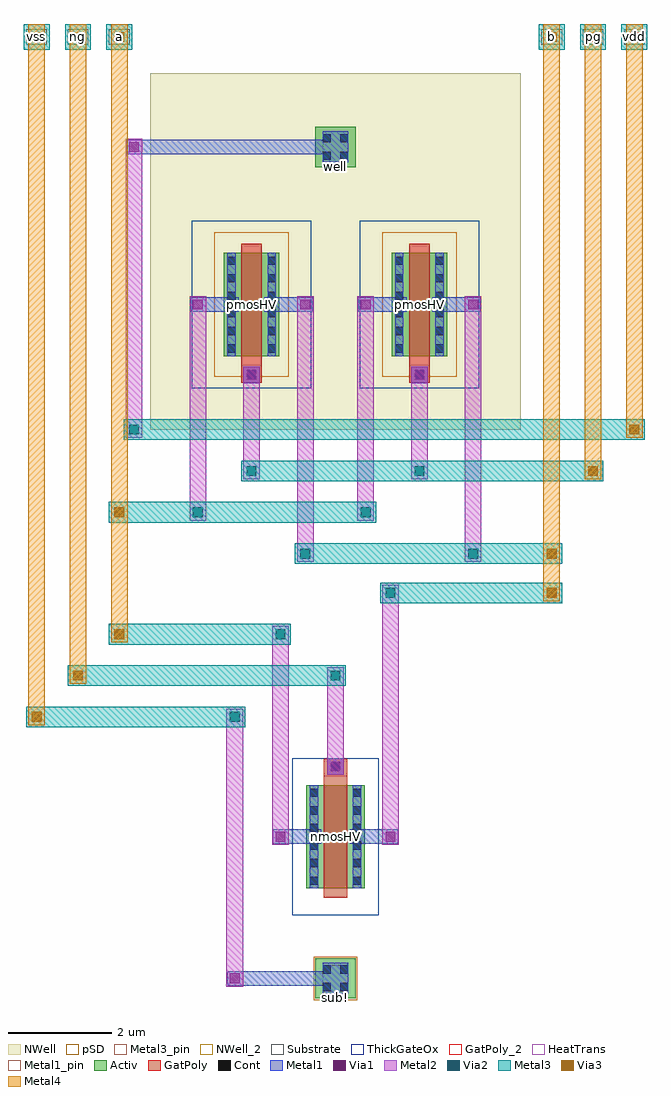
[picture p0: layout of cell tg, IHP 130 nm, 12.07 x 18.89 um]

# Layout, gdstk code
import gdstk
lib = gdstk.Library(unit=1e-6, precision=1e-09)
def R(c, l, rs):  # rectangles x0, y0, x1, y1
    for r in rs: c.add(gdstk.rectangle(r[:2], r[2:], *l))
def A(c, l, x, y, w, h, nx, ny, dx, dy):  # array of equal rectangles
    R(c, l, [(x+i*dx, y+j*dy, x+i*dx+w, y+j*dy+h) for i in range(nx) for j in range(ny)])
Activ = (1, 0)
GatPoly = (5, 0)
GatPoly_2 = (5, 2)
Cont = (6, 0)
Metal1 = (8, 0)
Metal1_pin = (8, 2)
Metal2 = (10, 0)
pSD = (14, 0)
Via1 = (19, 0)
Via2 = (29, 0)
Metal3 = (30, 0)
Metal3_pin = (30, 2)
NWell = (31, 0)
NWell_2 = (31, 2)
Substrate = (40, 0)
ThickGateOx = (44, 0)
Via3 = (49, 0)
Metal4 = (50, 0)
HeatTrans = (51, 0)

c_tg = lib.new_cell('tg')
R(c_tg, Activ, [(-0.39,-8.28,0.39,-7.5), (-0.565,-6.15,-0.265,-5.85), (-0.565,-6.15,0.565,-4.15), (0.265,-6.15,0.565,-5.85), (-2.165,4.15,-1.865,4.45), (-2.165,4.15,-1.085,6.15), (-1.385,4.15,-1.085,4.45), (1.085,4.15,1.385,4.45), (1.085,4.15,2.165,6.15), (1.865,4.15,2.165,4.45), (-0.39,7.81,0.39,8.59)])
R(c_tg, GatPoly, [(-0.225,-6.33,0.225,-3.97), (-0.225,-3.99,0.225,-3.64), (-1.825,3.64,-1.425,3.99), (1.425,3.64,1.825,3.99), (-1.825,3.97,-1.425,6.33), (1.425,3.97,1.825,6.33)])
R(c_tg, GatPoly_2, [(-0.225,-6.33,0.225,-3.97), (-1.825,3.97,-1.425,6.33), (1.425,3.97,1.825,6.33)])
A(c_tg, Cont, -0.495, -6.08, 0.16, 0.16, 1, 6, 0, 0.34)
A(c_tg, Cont, 0.335, -6.08, 0.16, 0.16, 1, 6, 0, 0.34)
A(c_tg, Cont, -2.095, 4.22, 0.16, 0.16, 1, 6, 0, 0.34)
A(c_tg, Cont, -1.315, 4.22, 0.16, 0.16, 1, 6, 0, 0.34)
A(c_tg, Cont, 1.155, 4.22, 0.16, 0.16, 1, 6, 0, 0.34)
A(c_tg, Cont, 1.935, 4.22, 0.16, 0.16, 1, 6, 0, 0.34)
R(c_tg, Cont, [(-0.25,-8.14,-0.09,-7.98), (0.09,-8.14,0.25,-7.98), (-0.25,-7.8,-0.09,-7.64), (0.09,-7.8,0.25,-7.64), (-0.08,-3.87,0.08,-3.71), (-1.705,3.71,-1.545,3.87), (1.545,3.71,1.705,3.87), (-0.25,7.95,-0.09,8.11), (0.09,7.95,0.25,8.11), (-0.25,8.29,-0.09,8.45), (0.09,8.29,0.25,8.45)])
R(c_tg, Metal1, [(-0.25,-8.19,0.25,-7.59), (-0.25,-8.14,0.25,-7.64), (-2.09,-8.03,0.14,-7.75), (-2.095,-7.995,-1.805,-7.785), (-0.495,-6.15,-0.335,-4.15), (0.335,-6.15,0.495,-4.15), (-1.205,-5.29,-0.275,-5.01), (0.275,-5.29,1.205,-5.01), (-1.21,-5.255,-0.92,-5.045), (0.92,-5.255,1.21,-5.045), (-0.16,-3.95,0.16,-3.63), (-0.145,-3.895,0.145,-3.685), (-1.785,3.63,-1.465,3.95), (1.465,3.63,1.785,3.95), (-1.77,3.685,-1.48,3.895), (1.48,3.685,1.77,3.895), (-2.095,4.15,-1.935,6.15), (-1.315,4.15,-1.155,6.15), (1.155,4.15,1.315,6.15), (1.935,4.15,2.095,6.15), (-2.805,5.01,-1.875,5.29), (-1.375,5.01,-0.445,5.29), (0.445,5.01,1.375,5.29), (1.875,5.01,2.805,5.29), (-2.81,5.045,-2.52,5.255), (-0.73,5.045,-0.44,5.255), (0.44,5.045,0.73,5.255), (2.52,5.045,2.81,5.255), (-0.25,7.9,0.25,8.5), (-4.04,8.06,0.14,8.34), (-4.045,8.095,-3.755,8.305)])
R(c_tg, Metal1_pin, [(-0.25,-8.14,0.25,-7.64), (-0.495,-6.15,-0.335,-4.15), (0.335,-6.15,0.495,-4.15), (-2.095,4.15,-1.935,6.15), (-1.315,4.15,-1.155,6.15), (1.155,4.15,1.315,6.15), (1.935,4.15,2.095,6.15), (-0.25,7.9,0.25,8.5), (-0.25,7.95,0.25,8.45)])
R(c_tg, Metal2, [(-2.11,-8.05,-1.79,-2.67), (-2.095,-7.99,-1.805,-7.79), (-1.225,-5.31,-0.905,-1.07), (0.905,-5.31,1.225,-0.27), (-1.21,-5.25,-0.92,-5.05), (0.92,-5.25,1.21,-5.05), (-0.16,-3.95,0.16,-1.87), (-0.145,-3.89,0.145,-3.69), (-2.095,-2.93,-1.805,-2.73), (-0.145,-2.13,0.145,-1.93), (-1.21,-1.33,-0.92,-1.13), (0.92,-0.53,1.21,-0.33), (-0.745,0.17,-0.425,5.31), (2.505,0.17,2.825,5.31), (-0.73,0.23,-0.44,0.43), (2.52,0.23,2.81,0.43), (-2.825,0.97,-2.505,5.31), (0.425,0.97,0.745,5.31), (-2.81,1.03,-2.52,1.23), (0.44,1.03,0.73,1.23), (-1.785,1.77,-1.465,3.95), (1.465,1.77,1.785,3.95), (-1.77,1.83,-1.48,2.03), (1.48,1.83,1.77,2.03), (-4.06,2.57,-3.74,8.36), (-4.045,2.63,-3.755,2.83), (-1.77,3.69,-1.48,3.89), (1.48,3.69,1.77,3.89), (-2.81,5.05,-2.52,5.25), (-0.73,5.05,-0.44,5.25), (0.44,5.05,0.73,5.25), (2.52,5.05,2.81,5.25), (-4.045,8.1,-3.755,8.3)])
R(c_tg, pSD, [(-0.42,-8.31,0.42,-7.47), (-2.345,3.75,-0.905,6.55), (0.905,3.75,2.345,6.55)])
R(c_tg, Via1, [(-2.045,-7.985,-1.855,-7.795), (-1.16,-5.245,-0.97,-5.055), (0.97,-5.245,1.16,-5.055), (-0.095,-3.885,0.095,-3.695), (-1.72,3.695,-1.53,3.885), (1.53,3.695,1.72,3.885), (-2.76,5.055,-2.57,5.245), (-0.68,5.055,-0.49,5.245), (0.49,5.055,0.68,5.245), (2.57,5.055,2.76,5.245), (-3.995,8.105,-3.805,8.295)])
R(c_tg, Via2, [(-2.045,-2.925,-1.855,-2.735), (-0.095,-2.125,0.095,-1.935), (-1.16,-1.325,-0.97,-1.135), (0.97,-0.525,1.16,-0.335), (-0.68,0.235,-0.49,0.425), (2.57,0.235,2.76,0.425), (-2.76,1.035,-2.57,1.225), (0.49,1.035,0.68,1.225), (-1.72,1.835,-1.53,2.025), (1.53,1.835,1.72,2.025), (-3.995,2.635,-3.805,2.825)])
A(c_tg, Metal3, -6.035, 10.08, 0.5, 0.5, 3, 1, 0.8, 0)
A(c_tg, Metal3, 3.935, 10.08, 0.5, 0.5, 3, 1, 0.8, 0)
A(c_tg, Metal3, -5.93, 10.23, 0.29, 0.2, 3, 1, 0.8, 0)
A(c_tg, Metal3, 4.04, 10.23, 0.29, 0.2, 3, 1, 0.8, 0)
R(c_tg, Metal3, [(-5.985,-3.03,-1.75,-2.63), (-5.93,-2.93,-5.64,-2.73), (-2.095,-2.93,-1.805,-2.73), (-5.185,-2.23,0.2,-1.83), (-5.13,-2.13,-4.84,-1.93), (-0.145,-2.13,0.145,-1.93), (-4.385,-1.43,-0.865,-1.03), (-4.33,-1.33,-4.04,-1.13), (-1.21,-1.33,-0.92,-1.13), (0.865,-0.63,4.385,-0.23), (0.92,-0.53,1.21,-0.33), (4.04,-0.53,4.33,-0.33), (-0.785,0.13,4.385,0.53), (-0.73,0.23,-0.44,0.43), (2.52,0.23,2.81,0.43), (4.04,0.23,4.33,0.43), (-4.385,0.93,0.785,1.33), (-4.33,1.03,-4.04,1.23), (-2.81,1.03,-2.52,1.23), (0.44,1.03,0.73,1.23), (-1.825,1.73,5.185,2.13), (-1.77,1.83,-1.48,2.03), (1.48,1.83,1.77,2.03), (4.84,1.83,5.13,2.03), (-4.1,2.53,5.985,2.93), (-4.045,2.63,-3.755,2.83), (5.64,2.63,5.93,2.83)])
A(c_tg, Metal3_pin, -5.985, 10.18, 0.4, 0.3, 3, 1, 0.8, 0)
A(c_tg, Metal3_pin, 3.985, 10.18, 0.4, 0.3, 3, 1, 0.8, 0)
R(c_tg, NWell, [(-3.585,2.73,3.585,9.63), (-2.785,3.53,-0.465,6.77), (0.465,3.53,2.785,6.77), (-0.63,7.57,0.63,8.83), (-0.39,7.81,0.39,8.59)])
R(c_tg, NWell_2, [(-0.39,7.81,0.39,8.59)])
R(c_tg, Substrate, [(-0.39,-8.28,0.39,-7.5)])
R(c_tg, ThickGateOx, [(-0.835,-6.67,0.835,-3.63), (-2.785,3.53,-0.465,6.77), (0.465,3.53,2.785,6.77)])
A(c_tg, Via3, -5.88, 10.235, 0.19, 0.19, 3, 1, 0.8, 0)
A(c_tg, Via3, 4.09, 10.235, 0.19, 0.19, 3, 1, 0.8, 0)
R(c_tg, Via3, [(-5.88,-2.925,-5.69,-2.735), (-5.08,-2.125,-4.89,-1.935), (-4.28,-1.325,-4.09,-1.135), (4.09,-0.525,4.28,-0.335), (4.09,0.235,4.28,0.425), (-4.28,1.035,-4.09,1.225), (4.89,1.835,5.08,2.025), (5.69,2.635,5.88,2.825)])
A(c_tg, Metal4, -5.93, 10.23, 0.29, 0.2, 3, 1, 0.8, 0)
A(c_tg, Metal4, 4.04, 10.23, 0.29, 0.2, 3, 1, 0.8, 0)
R(c_tg, Metal4, [(-5.945,-2.99,-5.625,10.58), (-5.93,-2.93,-5.64,-2.73), (-5.145,-2.19,-4.825,10.58), (-5.13,-2.13,-4.84,-1.93), (-4.345,-1.39,-4.025,10.58), (-4.33,-1.33,-4.04,-1.13), (4.025,-0.59,4.345,10.58), (4.04,-0.53,4.33,-0.33), (4.04,0.23,4.33,0.43), (-4.33,1.03,-4.04,1.23), (4.825,1.77,5.145,10.58), (4.84,1.83,5.13,2.03), (5.625,2.57,5.945,10.58), (5.64,2.63,5.93,2.83)])
R(c_tg, HeatTrans, [(-0.225,-6.33,0.225,-3.97), (-1.825,3.97,-1.425,6.33), (1.425,3.97,1.825,6.33)])
c_tg.add(gdstk.Label('pmosHV', (-1.625,5.15), layer=63, texttype=0))
c_tg.add(gdstk.Label('pmosHV', (1.625,5.15), layer=63, texttype=0))
c_tg.add(gdstk.Label('nmosHV', (0,-5.15), layer=63, texttype=0))
c_tg.add(gdstk.Label('well', (0,7.82), layer=63, texttype=0))
c_tg.add(gdstk.Label('sub!', (0,-8.27), layer=63, texttype=0))
c_tg.add(gdstk.Label('pmos', (-1.625,5.15), layer=51, texttype=0))
c_tg.add(gdstk.Label('pmos', (1.625,5.15), layer=51, texttype=0))
c_tg.add(gdstk.Label('nmosHV', (0,-5.15), layer=51, texttype=0))
c_tg.add(gdstk.Label('well', (0,7.82), layer=31, texttype=0))
c_tg.add(gdstk.Label('sub!', (0,-8.27), layer=40, texttype=0))
c_tg.add(gdstk.Label('vss', (-5.785,10.33), layer=30, texttype=25))
c_tg.add(gdstk.Label('ng', (-4.985,10.33), layer=30, texttype=25))
c_tg.add(gdstk.Label('pg', (4.985,10.33), layer=30, texttype=25))
c_tg.add(gdstk.Label('vdd', (5.785,10.33), layer=30, texttype=25))
c_tg.add(gdstk.Label('a', (-4.185,10.33), layer=30, texttype=25))
c_tg.add(gdstk.Label('b', (4.185,10.33), layer=30, texttype=25))

lib.write_gds('tg.gds')
